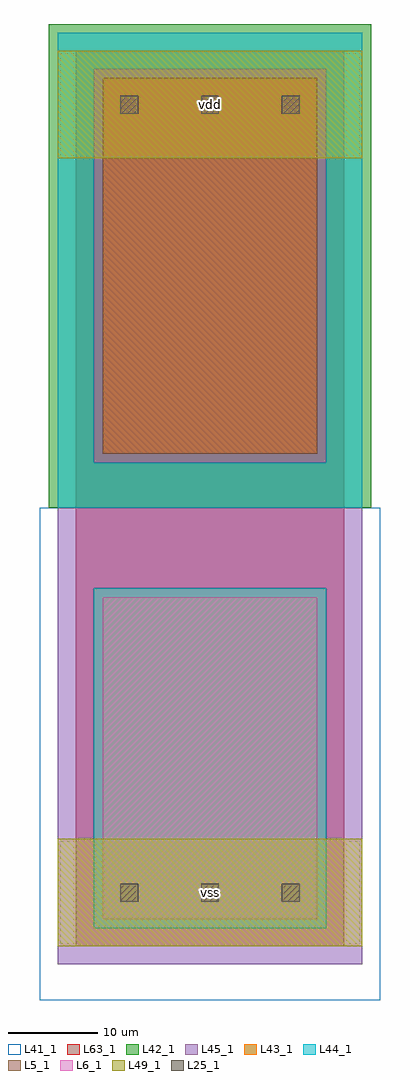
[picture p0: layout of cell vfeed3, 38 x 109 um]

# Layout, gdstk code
import gdstk
lib = gdstk.Library(unit=1e-6, precision=1e-09)
def R(c, l, rs):  # rectangles x0, y0, x1, y1
    for r in rs: c.add(gdstk.rectangle(r[:2], r[2:], *l))
def A(c, l, x, y, w, h, nx, ny, dx, dy):  # array of equal rectangles
    R(c, l, [(x+i*dx, y+j*dy, x+i*dx+w, y+j*dy+h) for i in range(nx) for j in range(ny)])
L5_1 = (5, 1)
L6_1 = (6, 1)
L25_1 = (25, 1)
L41_1 = (41, 1)
L42_1 = (42, 1)
L43_1 = (43, 1)
L44_1 = (44, 1)
L45_1 = (45, 1)
L49_1 = (49, 1)
L63_1 = (63, 1)

vfeed3 = lib.new_cell('vfeed3')
R(vfeed3, L5_1, [(3,55,27,97)])
R(vfeed3, L6_1, [(3,3,27,39)])
A(vfeed3, L25_1, 5, 5, 2, 2, 3, 2, 9, 88)
R(vfeed3, L41_1, [(-4,-6,34,49), (-3,-3,33,49)])
R(vfeed3, L42_1, [(-3,49,33,103)])
R(vfeed3, L43_1, [(3,3,27,39), (3,55,27,97)])
R(vfeed3, L44_1, [(2,2,28,40), (-2,49,32,54), (-2,54,2,98), (28,54,32,98), (-2,98,32,102)])
R(vfeed3, L45_1, [(-2,-2,32,2), (-2,2,2,40), (28,2,32,40), (-2,40,32,49), (2,54,28,98)])
R(vfeed3, L49_1, [(-2,0,32,12), (-2,88,32,100)])
R(vfeed3, L63_1, [(0,0,30,100)])
vfeed3.add(gdstk.Label('vss', (15,6), layer=49, texttype=1))
vfeed3.add(gdstk.Label('vss', (15,6), layer=49, texttype=1))
vfeed3.add(gdstk.Label('vdd', (15,94), layer=49, texttype=1))
vfeed3.add(gdstk.Label('vdd', (15,94), layer=49, texttype=1))

lib.write_gds('vfeed3.gds')
